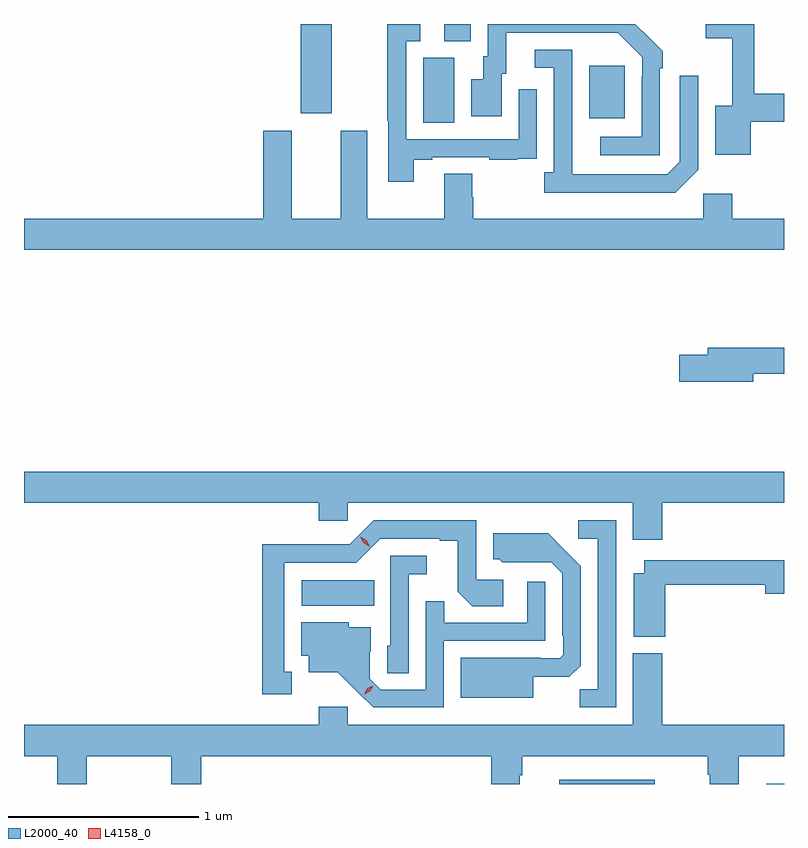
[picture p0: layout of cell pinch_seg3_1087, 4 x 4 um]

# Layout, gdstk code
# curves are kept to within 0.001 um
import gdstk
lib = gdstk.Library(unit=1e-6, precision=1e-09)
def R(c, l, rs):  # rectangles x0, y0, x1, y1
    for r in rs: c.add(gdstk.rectangle(r[:2], r[2:], *l))
def P(c, l, *ps):  # polygons
    for p in ps: c.add(gdstk.Polygon(p, *l))
L2000_40 = (2000, 40)
L4158_0 = (4158, 0)

pinch_seg3_1087 = lib.new_cell('pinch_seg3_1087')
R(pinch_seg3_1087, L2000_40, [(339.197,703.433,339.7,703.456), (340.286,703.433,340.379,703.435), (337.842,704.372,338.222,704.506), (338.48,706.912,338.644,707.256), (339.353,706.937,339.541,707.212), (337.835,706.962,337.999,707.433), (338.591,707.341,338.731,707.433)])
P(pinch_seg3_1087, L2000_40, [(340.204,706.919),(340.379,706.919),(340.379,707.066),(340.223,707.066),(340.223,707.433),(339.966,707.433),(339.966,707.358),(340.106,707.358),(340.106,707.002),(340.016,707.002),(340.016,706.745),(340.204,706.745)],
  [(339.726,707.201),(339.741,707.201),(339.741,707.289),(339.636,707.394),(339.635,707.393),(339.595,707.433),(338.82,707.433),(338.82,707.262),(338.795,707.262),(338.795,707.143),(338.732,707.143),(338.732,706.947),(338.893,706.947),(338.893,707.172),(338.917,707.172),(338.917,707.388),(339.505,707.388),(339.633,707.259),(339.633,707.159),(339.63,707.159),(339.63,706.839),(339.411,706.839),(339.411,706.743),(339.726,706.743)],
  [(338.431,706.719),(338.527,706.719),(338.527,706.731),(338.827,706.731),(338.827,706.719),(338.975,706.719),(338.975,706.725),(339.077,706.725),(339.077,706.834),(339.078,706.834),(339.078,707.089),(338.982,707.089),(338.982,706.827),(338.391,706.827),(338.391,707.343),(338.464,707.343),(338.464,707.433),(338.29,707.433),(338.29,706.924),(338.295,706.924),(338.295,706.602),(338.431,706.602)],
  [(339.927,706.665),(339.927,707.161),(339.831,707.161),(339.831,706.707),(339.765,706.641),(339.265,706.641),(339.264,707.298),(339.066,707.298),(339.066,707.202),(339.168,707.202),(339.168,706.654),(339.117,706.654),(339.117,706.544),(339.806,706.544)],
  [(340.379,706.408),(340.106,706.408),(340.106,706.54),(339.954,706.54),(339.954,706.408),(338.744,706.408),(338.744,706.521),(338.739,706.521),(338.739,706.646),(338.591,706.646),(338.591,706.408),(338.185,706.408),(338.185,706.87),(338.045,706.87),(338.045,706.408),(337.789,706.408),(337.789,706.87),(337.637,706.87),(337.637,706.408),(336.379,706.408),(336.379,706.244),(340.379,706.244)],
  [(340.216,705.592),(340.379,705.592),(340.379,705.728),(339.977,705.728),(339.977,705.692),(339.828,705.692),(339.828,705.55),(340.216,705.55)],
  [(339.737,704.912),(340.379,704.912),(340.379,705.076),(336.379,705.076),(336.379,704.912),(337.931,704.912),(337.931,704.819),(338.082,704.819),(338.082,704.912),(339.584,704.912),(339.584,704.718),(339.737,704.718)],
  [(339.495,704.82),(339.297,704.82),(339.297,704.724),(339.399,704.724),(339.399,703.931),(339.304,703.931),(339.304,703.836),(339.495,703.836)],
  [(337.789,704.025),(337.75,704.025),(337.75,704.598),(338.127,704.598),(338.253,704.724),(338.567,704.724),(338.567,704.712),(338.661,704.712),(338.661,704.444),(338.737,704.368),(338.902,704.368),(338.902,704.508),(338.76,704.508),(338.76,704.82),(338.22,704.82),(338.094,704.694),(337.872,704.694),(337.872,704.696),(337.632,704.696),(337.632,703.905),(337.789,703.905)],
  [(339.058,703.997),(339.25,703.997),(339.309,704.056),(339.309,704.578),(339.137,704.752),(338.849,704.752),(338.849,704.616),(338.88,704.616),(338.896,704.6),(339.153,704.601),(339.213,704.541),(339.213,704.212),(339.216,704.212),(339.216,704.112),(339.198,704.094),(339.098,704.094),(339.098,704.098),(338.678,704.098),(338.678,703.886),(339.058,703.886)],
  [(338.403,704.537),(338.5,704.537),(338.5,704.634),(338.307,704.634),(338.307,704.16),(338.292,704.16),(338.292,704.017),(338.403,704.017)],
  [(339.754,704.482),(340.28,704.482),(340.28,704.435),(340.379,704.435),(340.379,704.611),(339.644,704.611),(339.644,704.542),(339.587,704.542),(339.587,704.207),(339.754,704.207)],
  [(338.589,704.187),(339.123,704.187),(339.123,704.497),(339.027,704.497),(339.027,704.283),(338.591,704.283),(338.591,704.396),(338.493,704.396),(338.493,703.929),(338.256,703.929),(338.199,703.986),(338.199,704.128),(338.203,704.128),(338.203,704.257),(338.088,704.257),(338.088,704.284),(337.838,704.284),(337.838,704.108),(337.877,704.108),(337.877,704.021),(338.029,704.021),(338.216,703.836),(338.589,703.836)],
  [(336.708,703.58),(337.153,703.58),(337.153,703.433),(337.313,703.433),(337.313,703.58),(338.837,703.58),(338.837,703.433),(338.989,703.433),(338.989,703.479),(339.002,703.479),(339.002,703.58),(339.977,703.58),(339.977,703.481),(339.989,703.481),(339.989,703.433),(340.142,703.433),(340.142,703.58),(340.379,703.58),(340.379,703.744),(339.737,703.744),(339.737,704.122),(339.584,704.122),(339.584,703.744),(338.082,703.744),(338.082,703.84),(337.931,703.84),(337.931,703.744),(336.379,703.744),(336.379,703.58),(336.553,703.58),(336.553,703.433),(336.708,703.433)])
P(pinch_seg3_1087, L4158_0, [(338.169,703.906),(338.169,703.906),(338.186,703.936),(338.217,703.951),(338.217,703.951),(338.217,703.951),(338.2,703.922),(338.169,703.906)],
  [(338.198,704.683),(338.166,704.702),(338.149,704.734),(338.149,704.735),(338.149,704.735),(338.181,704.715),(338.198,704.683),(338.198,704.683)])

lib.write_gds('pinch_seg3_1087.gds')
